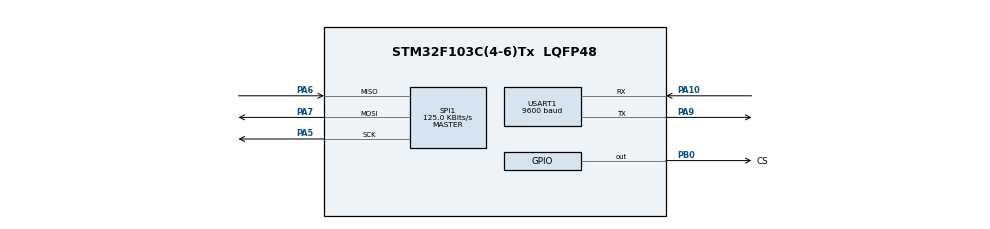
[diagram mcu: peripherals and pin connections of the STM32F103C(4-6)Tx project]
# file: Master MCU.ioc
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Mcu.Family=STM32F1
Mcu.Name=STM32F103C(4-6)Tx
Mcu.Package=LQFP48
NVIC.PriorityGroup=NVIC_PRIORITYGROUP_4
PA10.Mode=Asynchronous
PA10.Signal=USART1_RX
PA5.Mode=Full_Duplex_Master
PA5.Signal=SPI1_SCK
PA6.Mode=Full_Duplex_Master
PA6.Signal=SPI1_MISO
PA7.Mode=Full_Duplex_Master
PA7.Signal=SPI1_MOSI
PA9.Mode=Asynchronous
PA9.Signal=USART1_TX
PB0.GPIO_Label=CS
PB0.GPIO_PuPd=GPIO_PULLUP
PB0.PinState=GPIO_PIN_SET
PB0.Signal=GPIO_Output
ProjectManager.HeapSize=0x200
ProjectManager.StackSize=0x400
ProjectManager.TargetToolchain=STM32CubeIDE
RCC.APB1Freq_Value=8000000
RCC.APB2Freq_Value=8000000
SPI1.BaudRatePrescaler=SPI_BAUDRATEPRESCALER_64
SPI1.CalculateBaudRate=125.0 KBits/s
SPI1.Direction=SPI_DIRECTION_2LINES
SPI1.Mode=SPI_MODE_MASTER
SPI1.VirtualType=VM_MASTER
USART1.BaudRate=9600
USART1.VirtualMode=VM_ASYNC
VP_SYS_VS_ND.Mode=No_Debug
board=custom

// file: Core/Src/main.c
/* USER CODE BEGIN Header */
/**
  ******************************************************************************
  * @file           : main.c
  * @brief          : Main program body
  ******************************************************************************
  * @attention
  *
  * Copyright (c) 2025 STMicroelectronics.
  * All rights reserved.
  *
  * This software is licensed under terms that can be found in the LICENSE file
  * in the root directory of this software component.
  * If no LICENSE file comes with this software, it is provided AS-IS.
  *
  ******************************************************************************
  */
/* USER CODE END Header */
#include "main.h"

/* USER CODE BEGIN Includes */
#include <stdio.h>
#include <string.h>
#include <math.h>
/* USER CODE END Includes */

SPI_HandleTypeDef hspi1;

UART_HandleTypeDef huart1;

/* USER CODE BEGIN PV */

// UART variables
uint8_t UART_received_data[1];
char UART_message[100];

// SPI variables
uint8_t SPI_Sent_data[3];
uint8_t SPI_Junk[3];

// Encoded readings
uint16_t Voltage_Level;
uint16_t Wheel_Speed;

// Final readings
float final_voltage_level;
int final_wheel_speed;
uint8_t Encoded_Readings[3];

// Final message
char Decoded_message[100];

/* USER CODE END PV */

void SystemClock_Config(void);
static void MX_GPIO_Init(void);
static void MX_SPI1_Init(void);
static void MX_USART1_UART_Init(void);

int main(void)
{

  /* MCU Configuration--------------------------------------------------------*/

  /* Reset of all peripherals, Initializes the Flash interface and the Systick. */
  HAL_Init();

  /* Configure the system clock */
  SystemClock_Config();

  /* Initialize all configured peripherals */
  MX_GPIO_Init();
  MX_SPI1_Init();
  MX_USART1_UART_Init();

  /* Infinite loop */
  /* USER CODE BEGIN WHILE */
  while (1)
  {
	// receiving the input from the virtual terminal
	// #Page: 556 Chapter 38 HAL UART Generic Driver
	HAL_UART_Receive(&huart1, UART_received_data, 1, HAL_MAX_DELAY);
	// Input Validation
	if(UART_received_data[0] < '1' || UART_received_data[0] > '5') {
		snprintf(UART_message, sizeof(UART_message), "Please enter a valid input for the ID between 1-5 \r\n");
		// #Page: 556 Chapter 38 HAL UART Generic Driver
		HAL_UART_Transmit(&huart1, (uint8_t*) UART_message, strlen(UART_message), 100);
		continue;
		}
	else
		{
		// encoding the input
		int value = UART_received_data[0] - '0';
		SPI_Sent_data[0] = 0x10;
		SPI_Sent_data[1] = value;
		SPI_Sent_data[2] = 0;
		// First SPI to send the input
		// #Page: 50 Chapter 6 HAL System Driver
		HAL_Delay(1);
		// #Page: 227 Chapter 20 HAL GPIO Generic Driver
		HAL_GPIO_WritePin(GPIOB, GPIO_PIN_0, GPIO_PIN_RESET);
		// #Page: 452 Chapter 35 HAL SPI Generic Driver
		HAL_SPI_TransmitReceive(&hspi1, SPI_Sent_data, SPI_Junk, 3, 100);
		// #Page: 227 Chapter 20 HAL GPIO Generic Driver
		HAL_GPIO_WritePin(GPIOB, GPIO_PIN_0, GPIO_PIN_SET);
		// second SPI to receive the data
		// #Page: 50 Chapter 6 HAL System Driver
		HAL_Delay(1);
		memset(SPI_Junk, 0, sizeof(SPI_Junk));
		// #Page: 227 Chapter 20 HAL GPIO Generic Driver
		HAL_GPIO_WritePin(GPIOB, GPIO_PIN_0, GPIO_PIN_RESET);
		// #Page: 452 Chapter 35 HAL SPI Generic Driver
		HAL_SPI_TransmitReceive(&hspi1, SPI_Junk, Encoded_Readings, 3, 100);
		// #Page: 227 Chapter 20 HAL GPIO Generic Driver
		HAL_GPIO_WritePin(GPIOB, GPIO_PIN_0, GPIO_PIN_SET);
		// data decoding
		Voltage_Level = (Encoded_Readings[0] << 4) | (Encoded_Readings[1] >> 4);
		Wheel_Speed = ((Encoded_Readings[1] & 0x0F) << 8) | Encoded_Readings[2];
		final_voltage_level = ((float)Voltage_Level / 4095.0) * 24.0;
		final_wheel_speed = (int)round((Wheel_Speed / 4095.0) * 300);
		// formulating the message and sending to Virtual terminal for display
		snprintf(Decoded_message, sizeof(Decoded_message), "Case ID: %d | Voltage Level: %.1f | Wheel Speed: %d\r\n", value, final_voltage_level, final_wheel_speed);
		// #Page: 556 Chapter 38 HAL UART Generic Driver
		HAL_UART_Transmit(&huart1, (uint8_t*) Decoded_message, strlen(Decoded_message), 100);
}
    /* USER CODE END WHILE */

  }
}

void SystemClock_Config(void)
{
  RCC_OscInitTypeDef RCC_OscInitStruct = {0};
  RCC_ClkInitTypeDef RCC_ClkInitStruct = {0};

  /** Initializes the RCC Oscillators according to the specified parameters
  * in the RCC_OscInitTypeDef structure.
  */
  RCC_OscInitStruct.OscillatorType = RCC_OSCILLATORTYPE_HSI;
  RCC_OscInitStruct.HSIState = RCC_HSI_ON;
  RCC_OscInitStruct.HSICalibrationValue = RCC_HSICALIBRATION_DEFAULT;
  RCC_OscInitStruct.PLL.PLLState = RCC_PLL_NONE;
  if (HAL_RCC_OscConfig(&RCC_OscInitStruct) != HAL_OK)
  {
    Error_Handler();
  }

  /** Initializes the CPU, AHB and APB buses clocks
  */
  RCC_ClkInitStruct.ClockType = RCC_CLOCKTYPE_HCLK|RCC_CLOCKTYPE_SYSCLK
                              |RCC_CLOCKTYPE_PCLK1|RCC_CLOCKTYPE_PCLK2;
  RCC_ClkInitStruct.SYSCLKSource = RCC_SYSCLKSOURCE_HSI;
  RCC_ClkInitStruct.AHBCLKDivider = RCC_SYSCLK_DIV1;
  RCC_ClkInitStruct.APB1CLKDivider = RCC_HCLK_DIV1;
  RCC_ClkInitStruct.APB2CLKDivider = RCC_HCLK_DIV1;

  if (HAL_RCC_ClockConfig(&RCC_ClkInitStruct, FLASH_LATENCY_0) != HAL_OK)
  {
    Error_Handler();
  }
}

static void MX_SPI1_Init(void)
{

  /* SPI1 parameter configuration*/
  hspi1.Instance = SPI1;
  hspi1.Init.Mode = SPI_MODE_MASTER;
  hspi1.Init.Direction = SPI_DIRECTION_2LINES;
  hspi1.Init.DataSize = SPI_DATASIZE_8BIT;
  hspi1.Init.CLKPolarity = SPI_POLARITY_LOW;
  hspi1.Init.CLKPhase = SPI_PHASE_1EDGE;
  hspi1.Init.NSS = SPI_NSS_SOFT;
  hspi1.Init.BaudRatePrescaler = SPI_BAUDRATEPRESCALER_64;
  hspi1.Init.FirstBit = SPI_FIRSTBIT_MSB;
  hspi1.Init.TIMode = SPI_TIMODE_DISABLE;
  hspi1.Init.CRCCalculation = SPI_CRCCALCULATION_DISABLE;
  hspi1.Init.CRCPolynomial = 10;
  if (HAL_SPI_Init(&hspi1) != HAL_OK)
  {
    Error_Handler();
  }

}

static void MX_USART1_UART_Init(void)
{

  huart1.Instance = USART1;
  huart1.Init.BaudRate = 9600;
  huart1.Init.WordLength = UART_WORDLENGTH_8B;
  huart1.Init.StopBits = UART_STOPBITS_1;
  huart1.Init.Parity = UART_PARITY_NONE;
  huart1.Init.Mode = UART_MODE_TX_RX;
  huart1.Init.HwFlowCtl = UART_HWCONTROL_NONE;
  huart1.Init.OverSampling = UART_OVERSAMPLING_16;
  if (HAL_UART_Init(&huart1) != HAL_OK)
  {
    Error_Handler();
  }

}

static void MX_GPIO_Init(void)
{
  GPIO_InitTypeDef GPIO_InitStruct = {0};

  /* GPIO Ports Clock Enable */
  __HAL_RCC_GPIOA_CLK_ENABLE();
  __HAL_RCC_GPIOB_CLK_ENABLE();

  /*Configure GPIO pin Output Level */
  HAL_GPIO_WritePin(CS_GPIO_Port, CS_Pin, GPIO_PIN_SET);

  /*Configure GPIO pin : CS_Pin */
  GPIO_InitStruct.Pin = CS_Pin;
  GPIO_InitStruct.Mode = GPIO_MODE_OUTPUT_PP;
  GPIO_InitStruct.Pull = GPIO_PULLUP;
  GPIO_InitStruct.Speed = GPIO_SPEED_FREQ_LOW;
  HAL_GPIO_Init(CS_GPIO_Port, &GPIO_InitStruct);

}

void Error_Handler(void)
{
  __disable_irq();
  while (1)
  {
  }
}
